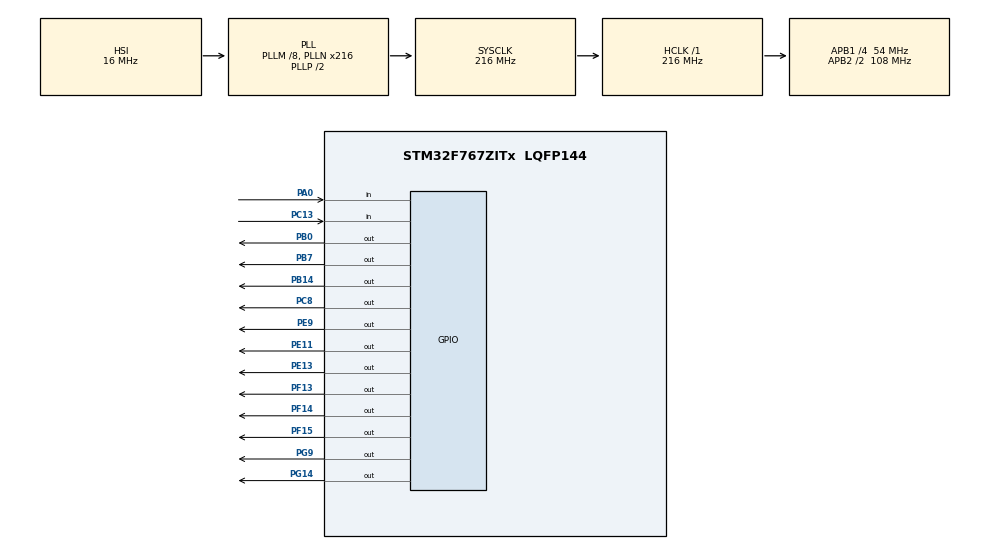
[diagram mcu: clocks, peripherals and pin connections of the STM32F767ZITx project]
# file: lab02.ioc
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Mcu.Family=STM32F7
Mcu.Name=STM32F767ZITx
Mcu.Package=LQFP144
NVIC.PriorityGroup=NVIC_PRIORITYGROUP_4
PA0/WKUP.Signal=GPIO_Input
PB0.Signal=GPIO_Output
PB14.Signal=GPIO_Output
PB7.Signal=GPIO_Output
PC13.Signal=GPIO_Input
PC8.Signal=GPIO_Output
PE11.Signal=GPIO_Output
PE13.Signal=GPIO_Output
PE9.Signal=GPIO_Output
PF13.Signal=GPIO_Output
PF14.Signal=GPIO_Output
PF15.Signal=GPIO_Output
PG14.Signal=GPIO_Output
PG9.Signal=GPIO_Output
ProjectManager.HeapSize=0x200
ProjectManager.StackSize=0x400
ProjectManager.TargetToolchain=STM32CubeIDE
RCC.AHBFreq_Value=216000000
RCC.APB1CLKDivider=RCC_HCLK_DIV4
RCC.APB1Freq_Value=54000000
RCC.APB1TimFreq_Value=108000000
RCC.APB2CLKDivider=RCC_HCLK_DIV2
RCC.APB2Freq_Value=108000000
RCC.APB2TimFreq_Value=216000000
RCC.CortexFreq_Value=216000000
RCC.HCLKFreq_Value=216000000
RCC.HSE_VALUE=25000000
RCC.HSI_VALUE=16000000
RCC.LSE_VALUE=32768
RCC.PLLM=8
RCC.PLLN=216
RCC.SYSCLKFreq_VALUE=216000000
RCC.SYSCLKSource=RCC_SYSCLKSOURCE_PLLCLK
RCC.USBFreq_Value=216000000
RCC.VCOOutputFreq_Value=432000000
board=custom

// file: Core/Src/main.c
/* USER CODE BEGIN Header */
/**
 ******************************************************************************
 * @file           : main.c
 * @brief          : Main program body
 ******************************************************************************
 * @attention
 *
 * Copyright (c) 2022 STMicroelectronics.
 * All rights reserved.
 *
 * This software is licensed under terms that can be found in the LICENSE file
 * in the root directory of this software component.
 * If no LICENSE file comes with this software, it is provided AS-IS.
 *
 ******************************************************************************
 */
/* USER CODE END Header */
#include "main.h"

/* USER CODE BEGIN PV */
uint8_t num1 = 0;
uint8_t num2 = 0;
/* USER CODE END PV */

void SystemClock_Config(void);
static void MX_GPIO_Init(void);

int main(void) {

	/* MCU Configuration--------------------------------------------------------*/

	/* Reset of all peripherals, Initializes the Flash interface and the Systick. */
	HAL_Init();

	/* Configure the system clock */
	SystemClock_Config();

	/* Initialize all configured peripherals */
	MX_GPIO_Init();

	HAL_GPIO_WritePin(GPIOF, GPIO_PIN_13, GPIO_PIN_SET);
	HAL_GPIO_WritePin(GPIOE, GPIO_PIN_9, GPIO_PIN_SET);
	HAL_GPIO_WritePin(GPIOE, GPIO_PIN_11, GPIO_PIN_SET);
	HAL_GPIO_WritePin(GPIOF, GPIO_PIN_14, GPIO_PIN_SET);
	HAL_GPIO_WritePin(GPIOE, GPIO_PIN_13, GPIO_PIN_SET);
	HAL_GPIO_WritePin(GPIOF, GPIO_PIN_15, GPIO_PIN_SET);
	HAL_GPIO_WritePin(GPIOG, GPIO_PIN_14, GPIO_PIN_SET);
	HAL_GPIO_WritePin(GPIOG, GPIO_PIN_9, GPIO_PIN_SET);

	/* Infinite loop */
	while (1) {

		/* USER CODE BEGIN 3 */

//	  if(HAL_GPIO_ReadPin(GPIOC, GPIO_PIN_13) == GPIO_PIN_SET)
//	  {
//		HAL_GPIO_WritePin(GPIOB, GPIO_PIN_0, GPIO_PIN_SET);
//		HAL_Delay(1000);
//		HAL_GPIO_WritePin(GPIOB, GPIO_PIN_0, GPIO_PIN_RESET);
//
//	  }
//	  else if(HAL_GPIO_ReadPin(GPIOA, GPIO_PIN_0) == GPIO_PIN_RESET)
//	  {
//		  HAL_GPIO_WritePin(GPIOC, GPIO_PIN_8, num1 = GPIO_PIN_RESET);
//		  HAL_Delay(1000);
//		  HAL_GPIO_WritePin(GPIOC, GPIO_PIN_8, GPIO_PIN_SET);
//		  num1 = 1;
//	  }
		if (HAL_GPIO_ReadPin(GPIOC, GPIO_PIN_13) == GPIO_PIN_SET) {

			if (num1 == 0) {
				LEDlight(0, 1, 1, 1, 1, 1, 1, 1);
			} else if (num1 == 1) {
				LEDlight(1, 0, 1, 1, 1, 1, 1, 1);
			} else if (num1 == 2) {
				LEDlight(1, 1, 0, 1, 1, 1, 1, 1);
			} else if (num1 == 3) {
				LEDlight(1, 1, 1, 0, 1, 1, 1, 1);
			} else if (num1 == 4) {
				LEDlight(1, 1, 1, 1, 0, 1, 1, 1);
			} else if (num1 == 5) {
				LEDlight(1, 1, 1, 1, 1, 0, 1, 1);
			} else if (num1 == 6) {
				LEDlight(1, 1, 1, 1, 1, 1, 0, 1);
			} else if (num1 == 7) {
				LEDlight(1, 1, 1, 1, 1, 1, 1, 0);
			}
			num1++;
			if(num1 > 7){
				num1 = 0;
				LEDlight(0, 1, 1, 1, 1, 1, 1, 1);
			}

		}
		if (HAL_GPIO_ReadPin(GPIOA, GPIO_PIN_0) == GPIO_PIN_RESET) {

			for (uint8_t i = 0; i <= 8; i++) {
				if (i == 0) {
					LEDlight(1, 1, 1, 1, 1, 1, 1, 0);
				} else if (i == 1) {
					LEDlight(1, 1, 1, 1, 1, 1, 0, 1);
				} else if (i == 2) {
					LEDlight(1, 1, 1, 1, 1, 0, 1, 1);
				} else if (i == 3) {
					LEDlight(1, 1, 1, 1, 0, 1, 1, 1);
				} else if (i == 4) {
					LEDlight(1, 1, 1, 0, 1, 1, 1, 1);
				} else if (i == 5) {
					LEDlight(1, 1, 0, 1, 1, 1, 1, 1);
				} else if (i == 6) {
					LEDlight(1, 0, 1, 1, 1, 1, 1, 1);
				} else if (i == 7) {
					LEDlight(0, 1, 1, 1, 1, 1, 1, 1);
				} else if (i == 8) {
					LEDlight(1, 1, 1, 1, 1, 1, 1, 1);
				}

			}
		}
	}
	/* USER CODE END 3 */
}

void LEDlight(uint8_t num0, uint8_t num1, uint8_t num2, uint8_t num3,
		uint8_t num4, uint8_t num5, uint8_t num6, uint8_t num7) {
	HAL_GPIO_WritePin(GPIOF, GPIO_PIN_13, num7);
	HAL_GPIO_WritePin(GPIOE, GPIO_PIN_9, num6);
	HAL_GPIO_WritePin(GPIOE, GPIO_PIN_11, num5);
	HAL_GPIO_WritePin(GPIOF, GPIO_PIN_14, num4);
	HAL_GPIO_WritePin(GPIOE, GPIO_PIN_13, num3);
	HAL_GPIO_WritePin(GPIOF, GPIO_PIN_15, num2);
	HAL_GPIO_WritePin(GPIOG, GPIO_PIN_14, num1);
	HAL_GPIO_WritePin(GPIOG, GPIO_PIN_9, num0);
	HAL_Delay(500);
}
void SystemClock_Config(void) {
	RCC_OscInitTypeDef RCC_OscInitStruct = { 0 };
	RCC_ClkInitTypeDef RCC_ClkInitStruct = { 0 };

	/** Configure the main internal regulator output voltage
	 */
	__HAL_RCC_PWR_CLK_ENABLE();
	__HAL_PWR_VOLTAGESCALING_CONFIG(PWR_REGULATOR_VOLTAGE_SCALE1);

	/** Initializes the RCC Oscillators according to the specified parameters
	 * in the RCC_OscInitTypeDef structure.
	 */
	RCC_OscInitStruct.OscillatorType = RCC_OSCILLATORTYPE_HSI;
	RCC_OscInitStruct.HSIState = RCC_HSI_ON;
	RCC_OscInitStruct.HSICalibrationValue = RCC_HSICALIBRATION_DEFAULT;
	RCC_OscInitStruct.PLL.PLLState = RCC_PLL_ON;
	RCC_OscInitStruct.PLL.PLLSource = RCC_PLLSOURCE_HSI;
	RCC_OscInitStruct.PLL.PLLM = 8;
	RCC_OscInitStruct.PLL.PLLN = 216;
	RCC_OscInitStruct.PLL.PLLP = RCC_PLLP_DIV2;
	RCC_OscInitStruct.PLL.PLLQ = 2;
	RCC_OscInitStruct.PLL.PLLR = 2;
	if (HAL_RCC_OscConfig(&RCC_OscInitStruct) != HAL_OK) {
		Error_Handler();
	}

	/** Activate the Over-Drive mode
	 */
	if (HAL_PWREx_EnableOverDrive() != HAL_OK) {
		Error_Handler();
	}

	/** Initializes the CPU, AHB and APB buses clocks
	 */
	RCC_ClkInitStruct.ClockType = RCC_CLOCKTYPE_HCLK | RCC_CLOCKTYPE_SYSCLK
			| RCC_CLOCKTYPE_PCLK1 | RCC_CLOCKTYPE_PCLK2;
	RCC_ClkInitStruct.SYSCLKSource = RCC_SYSCLKSOURCE_PLLCLK;
	RCC_ClkInitStruct.AHBCLKDivider = RCC_SYSCLK_DIV1;
	RCC_ClkInitStruct.APB1CLKDivider = RCC_HCLK_DIV4;
	RCC_ClkInitStruct.APB2CLKDivider = RCC_HCLK_DIV2;

	if (HAL_RCC_ClockConfig(&RCC_ClkInitStruct, FLASH_LATENCY_7) != HAL_OK) {
		Error_Handler();
	}
}

static void MX_GPIO_Init(void) {
	GPIO_InitTypeDef GPIO_InitStruct = { 0 };

	/* GPIO Ports Clock Enable */
	__HAL_RCC_GPIOC_CLK_ENABLE();
	__HAL_RCC_GPIOA_CLK_ENABLE();
	__HAL_RCC_GPIOB_CLK_ENABLE();
	__HAL_RCC_GPIOF_CLK_ENABLE();
	__HAL_RCC_GPIOE_CLK_ENABLE();
	__HAL_RCC_GPIOG_CLK_ENABLE();

	/*Configure GPIO pin Output Level */
	HAL_GPIO_WritePin(GPIOB, GPIO_PIN_0 | GPIO_PIN_14 | GPIO_PIN_7,
			GPIO_PIN_RESET);

	/*Configure GPIO pin Output Level */
	HAL_GPIO_WritePin(GPIOF, GPIO_PIN_13 | GPIO_PIN_14 | GPIO_PIN_15,
			GPIO_PIN_RESET);

	/*Configure GPIO pin Output Level */
	HAL_GPIO_WritePin(GPIOE, GPIO_PIN_9 | GPIO_PIN_11 | GPIO_PIN_13,
			GPIO_PIN_RESET);

	/*Configure GPIO pin Output Level */
	HAL_GPIO_WritePin(GPIOC, GPIO_PIN_8, GPIO_PIN_RESET);

	/*Configure GPIO pin Output Level */
	HAL_GPIO_WritePin(GPIOG, GPIO_PIN_9 | GPIO_PIN_14, GPIO_PIN_RESET);

	/*Configure GPIO pin : PC13 */
	GPIO_InitStruct.Pin = GPIO_PIN_13;
	GPIO_InitStruct.Mode = GPIO_MODE_INPUT;
	GPIO_InitStruct.Pull = GPIO_NOPULL;
	HAL_GPIO_Init(GPIOC, &GPIO_InitStruct);

	/*Configure GPIO pin : PA0 */
	GPIO_InitStruct.Pin = GPIO_PIN_0;
	GPIO_InitStruct.Mode = GPIO_MODE_INPUT;
	GPIO_InitStruct.Pull = GPIO_NOPULL;
	HAL_GPIO_Init(GPIOA, &GPIO_InitStruct);

	/*Configure GPIO pins : PB0 PB14 PB7 */
	GPIO_InitStruct.Pin = GPIO_PIN_0 | GPIO_PIN_14 | GPIO_PIN_7;
	GPIO_InitStruct.Mode = GPIO_MODE_OUTPUT_PP;
	GPIO_InitStruct.Pull = GPIO_NOPULL;
	GPIO_InitStruct.Speed = GPIO_SPEED_FREQ_LOW;
	HAL_GPIO_Init(GPIOB, &GPIO_InitStruct);

	/*Configure GPIO pins : PF13 PF14 PF15 */
	GPIO_InitStruct.Pin = GPIO_PIN_13 | GPIO_PIN_14 | GPIO_PIN_15;
	GPIO_InitStruct.Mode = GPIO_MODE_OUTPUT_PP;
	GPIO_InitStruct.Pull = GPIO_NOPULL;
	GPIO_InitStruct.Speed = GPIO_SPEED_FREQ_LOW;
	HAL_GPIO_Init(GPIOF, &GPIO_InitStruct);

	/*Configure GPIO pins : PE9 PE11 PE13 */
	GPIO_InitStruct.Pin = GPIO_PIN_9 | GPIO_PIN_11 | GPIO_PIN_13;
	GPIO_InitStruct.Mode = GPIO_MODE_OUTPUT_PP;
	GPIO_InitStruct.Pull = GPIO_NOPULL;
	GPIO_InitStruct.Speed = GPIO_SPEED_FREQ_LOW;
	HAL_GPIO_Init(GPIOE, &GPIO_InitStruct);

	/*Configure GPIO pin : PC8 */
	GPIO_InitStruct.Pin = GPIO_PIN_8;
	GPIO_InitStruct.Mode = GPIO_MODE_OUTPUT_PP;
	GPIO_InitStruct.Pull = GPIO_NOPULL;
	GPIO_InitStruct.Speed = GPIO_SPEED_FREQ_LOW;
	HAL_GPIO_Init(GPIOC, &GPIO_InitStruct);

	/*Configure GPIO pins : PG9 PG14 */
	GPIO_InitStruct.Pin = GPIO_PIN_9 | GPIO_PIN_14;
	GPIO_InitStruct.Mode = GPIO_MODE_OUTPUT_PP;
	GPIO_InitStruct.Pull = GPIO_NOPULL;
	GPIO_InitStruct.Speed = GPIO_SPEED_FREQ_LOW;
	HAL_GPIO_Init(GPIOG, &GPIO_InitStruct);

}

void Error_Handler(void) {
	__disable_irq();
	while (1) {
	}
}
